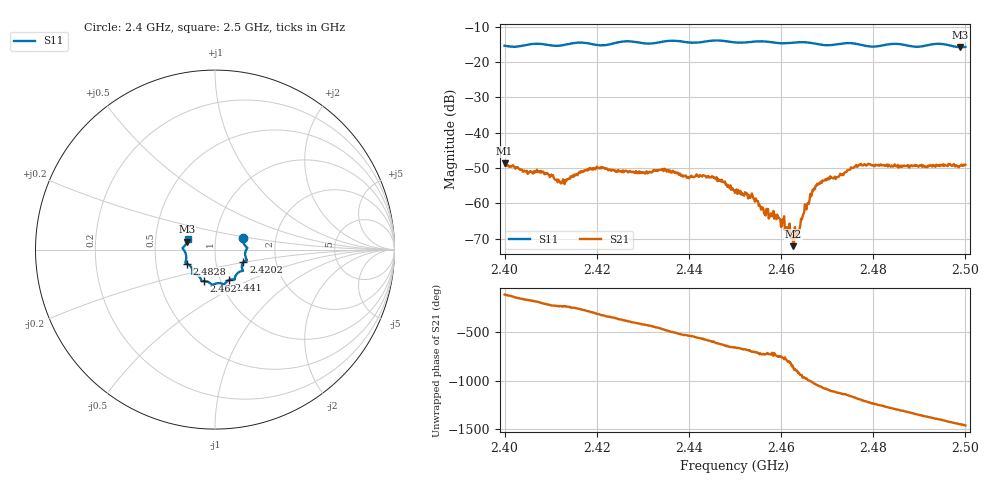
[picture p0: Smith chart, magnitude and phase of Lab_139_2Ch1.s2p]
# Hz S RI R 50
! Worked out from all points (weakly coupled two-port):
!   601 points, 2.4 GHz to 2.5 GHz, reference 50 ohm
!   highest |S21| = -48.68 dB at 2.4 GHz (marker M1); lowest = -72.1 dB at 2.4627 GHz (marker M2)
!   lowest |S11| = -15.8 dB at 2.4988 GHz (marker M3), VSWR 1.39, Z = 36.4 + j3.29 ohm
!   |S11| at or under -10 dB: start of sweep to end of sweep
!   S12 and S22 are empty: the file has one direction only
!   S11 on the Smith chart (normalised r, x): 2.4 GHz: 1.36, +0.18; 2.4202 GHz: 1.36, -0.20; 2.441 GHz: 1.10, -0.39; 2.462 GHz: 0.84, -0.30; 2.4828 GHz: 0.72, -0.12; 2.5 GHz: 0.73, +0.09
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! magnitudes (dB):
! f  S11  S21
! 2.4 GHz  -15.4  -48.7
! 2.408 GHz  -14.9  -51.3
! 2.4125 GHz  -15.3  -54.1
! 2.4167 GHz  -14.5  -51.2
! 2.4202 GHz  -15.2  -49.8
! 2.4333 GHz  -14.5  -50.7
! 2.441 GHz  -14.6  -52.5
! 2.4455 GHz  -13.9  -52.7
! 2.45 GHz  -14.5  -57.0
! 2.454 GHz  -14.3  -58.7
! 2.4562 GHz  -14.2  -61.7
! 2.4593 GHz  -14.7  -63.9
! 2.462 GHz  -14.6  -68.0
! 2.4627 GHz  -14.5  -72.1
! 2.4637 GHz  -14.4  -68.3
! 2.4667 GHz  -14.6  -57.6
! 2.4692 GHz  -15.2  -53.6
! 2.4765 GHz  -14.9  -49.7
! 2.4828 GHz  -15.1  -49.3
! 2.4833 GHz  -15.0  -49.1
! 2.4988 GHz  -15.8  -49.4
! 2.5 GHz  -15.7  -49.1
